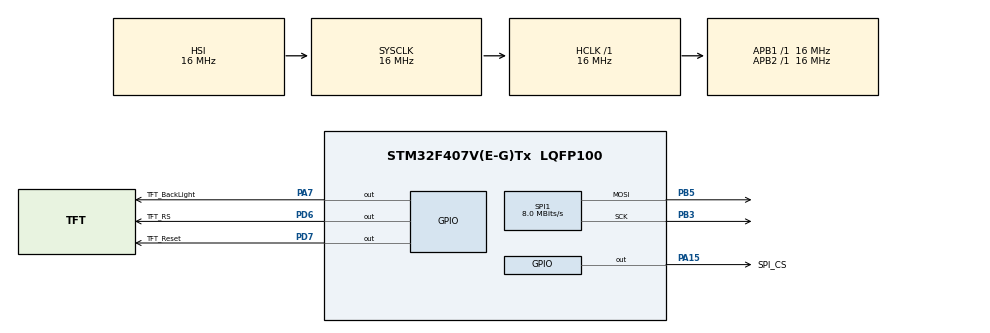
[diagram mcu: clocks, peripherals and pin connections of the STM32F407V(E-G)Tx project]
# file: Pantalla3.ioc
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Mcu.Family=STM32F4
Mcu.Name=STM32F407V(E-G)Tx
Mcu.Package=LQFP100
NVIC.PriorityGroup=NVIC_PRIORITYGROUP_4
PA15.GPIO_Label=SPI_CS
PA15.Signal=GPIO_Output
PA7.GPIO_Label=TFT_BackLight
PA7.Signal=GPIO_Output
PB3.Mode=TX_Only_Simplex_Unidirect_Master
PB3.Signal=SPI1_SCK
PB5.Mode=TX_Only_Simplex_Unidirect_Master
PB5.Signal=SPI1_MOSI
PD6.GPIO_Label=TFT_RS
PD6.Signal=GPIO_Output
PD7.GPIO_Label=TFT_Reset
PD7.Signal=GPIO_Output
ProjectManager.HeapSize=0x200
ProjectManager.StackSize=0x400
ProjectManager.TargetToolchain=TrueSTUDIO
RCC.AHBFreq_Value=16000000
RCC.APB1Freq_Value=16000000
RCC.APB2Freq_Value=16000000
RCC.CortexFreq_Value=16000000
RCC.HSE_VALUE=25000000
RCC.HSI_VALUE=16000000
RCC.LSE_VALUE=32768
RCC.SYSCLKFreq_VALUE=16000000
RCC.VCOOutputFreq_Value=192000000
SPI1.CalculateBaudRate=8.0 MBits/s
SPI1.Direction=SPI_DIRECTION_2LINES
SPI1.Mode=SPI_MODE_MASTER
SPI1.VirtualType=VM_MASTER
board=Pantalla3

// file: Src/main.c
/**
  ******************************************************************************
  * File Name          : main.c
  * Description        : Main program body
  ******************************************************************************
  ** This notice applies to any and all portions of this file
  * that are not between comment pairs USER CODE BEGIN and
  * USER CODE END. Other portions of this file, whether
  * inserted by the user or by software development tools
  * are owned by their respective copyright owners.
  *
  * COPYRIGHT(c) 2017 STMicroelectronics
  *
  * Redistribution and use in source and binary forms, with or without modification,
  * are permitted provided that the following conditions are met:
  *   1. Redistributions of source code must retain the above copyright notice,
  *      this list of conditions and the following disclaimer.
  *   2. Redistributions in binary form must reproduce the above copyright notice,
  *      this list of conditions and the following disclaimer in the documentation
  *      and/or other materials provided with the distribution.
  *   3. Neither the name of STMicroelectronics nor the names of its contributors
  *      may be used to endorse or promote products derived from this software
  *      without specific prior written permission.
  *
  * THIS SOFTWARE IS PROVIDED BY THE COPYRIGHT HOLDERS AND CONTRIBUTORS "AS IS"
  * AND ANY EXPRESS OR IMPLIED WARRANTIES, INCLUDING, BUT NOT LIMITED TO, THE
  * IMPLIED WARRANTIES OF MERCHANTABILITY AND FITNESS FOR A PARTICULAR PURPOSE ARE
  * DISCLAIMED. IN NO EVENT SHALL THE COPYRIGHT HOLDER OR CONTRIBUTORS BE LIABLE
  * FOR ANY DIRECT, INDIRECT, INCIDENTAL, SPECIAL, EXEMPLARY, OR CONSEQUENTIAL
  * DAMAGES (INCLUDING, BUT NOT LIMITED TO, PROCUREMENT OF SUBSTITUTE GOODS OR
  * SERVICES; LOSS OF USE, DATA, OR PROFITS; OR BUSINESS INTERRUPTION) HOWEVER
  * CAUSED AND ON ANY THEORY OF LIABILITY, WHETHER IN CONTRACT, STRICT LIABILITY,
  * OR TORT (INCLUDING NEGLIGENCE OR OTHERWISE) ARISING IN ANY WAY OUT OF THE USE
  * OF THIS SOFTWARE, EVEN IF ADVISED OF THE POSSIBILITY OF SUCH DAMAGE.
  *
  ******************************************************************************
  */
#include "main.h"
#include "stm32f4xx_hal.h"
#include "spi.h"
#include "gpio.h"

/* USER CODE BEGIN Includes */
#include "Intesc_Stdr_Types.h"			///ESTAS LIBRERIAS SE OBTUVIEORN DEL ARCHIVO MapPin_OPHYRA.H
#include "ST7735_Driver.h"				///LAS CUALES SE COPIARON DEL ARCHIVO MENCIONADO LCALIZADAO EN INC QUE FUE AGREADO
#include "MapPIN_Ophyra.h"
#include "stdio.h"

/* USER CODE END Includes */

/* USER CODE BEGIN PV */
/* Private variables ---------------------------------------------------------*/

/* USER CODE END PV */

void SystemClock_Config(void);

/* USER CODE BEGIN PFP */
/* Private function prototypes -----------------------------------------------*/

/* USER CODE END PFP */

int main(void)
{

  /* MCU Configuration----------------------------------------------------------*/

  /* Reset of all peripherals, Initializes the Flash interface and the Systick. */
  HAL_Init();

  /* Configure the system clock */
  SystemClock_Config();

  /* Initialize all configured peripherals */
  MX_GPIO_Init();
  MX_SPI1_Init();

  /* USER CODE BEGIN 2 */
  U32 Colorletra=0x6C1332;
    U32 Colorfondo=0xFFFFFF;
    char bufer[10];

    ///CONFIGURAR LA TFT

    TFT_Init(0);//funcion inicai la pantalla si es 0 es horinzontal y 1 para vertical
    TFT_BackLight(1);  //SI ES 1 LA PANTALLA ENCENDIDA Y 0 LA PANTALLA APAGADA
    TFT_ClearDisplay(Colorfondo);   ///FUNCION PARA LIMPIAR PANTALLA

    ///EJEMPLO PARA ESCRIBIR CARACTERES

    TFT_GotoXY(1,50);
    TFT_PrintStr("HOLA, PRIMER PROGRAMA EN LA TFT",Colorletra,Colorfondo);

    TFT_GotoXY(100,120);
    //PARA IMRPIMIR LA VARIBALE
    	  for(int i=0;i<=150;i++){

    		  sprintf(bufer,"%d",i);
    		  TFT_PrintStr(bufer,Colorletra,Colorfondo);
    		  HAL_Delay(200);
    	  	  }
  /* USER CODE END 2 */

  /* Infinite loop */
  while (1)
  {

  }

}

/** System Clock Configuration
*/
void SystemClock_Config(void)
{

  RCC_OscInitTypeDef RCC_OscInitStruct;
  RCC_ClkInitTypeDef RCC_ClkInitStruct;

    /**Configure the main internal regulator output voltage
    */
  __HAL_RCC_PWR_CLK_ENABLE();

  __HAL_PWR_VOLTAGESCALING_CONFIG(PWR_REGULATOR_VOLTAGE_SCALE1);

    /**Initializes the CPU, AHB and APB busses clocks
    */
  RCC_OscInitStruct.OscillatorType = RCC_OSCILLATORTYPE_HSI;
  RCC_OscInitStruct.HSIState = RCC_HSI_ON;
  RCC_OscInitStruct.HSICalibrationValue = 16;
  RCC_OscInitStruct.PLL.PLLState = RCC_PLL_NONE;
  if (HAL_RCC_OscConfig(&RCC_OscInitStruct) != HAL_OK)
  {
    _Error_Handler(__FILE__, __LINE__);
  }

    /**Initializes the CPU, AHB and APB busses clocks
    */
  RCC_ClkInitStruct.ClockType = RCC_CLOCKTYPE_HCLK|RCC_CLOCKTYPE_SYSCLK
                              |RCC_CLOCKTYPE_PCLK1|RCC_CLOCKTYPE_PCLK2;
  RCC_ClkInitStruct.SYSCLKSource = RCC_SYSCLKSOURCE_HSI;
  RCC_ClkInitStruct.AHBCLKDivider = RCC_SYSCLK_DIV1;
  RCC_ClkInitStruct.APB1CLKDivider = RCC_HCLK_DIV1;
  RCC_ClkInitStruct.APB2CLKDivider = RCC_HCLK_DIV1;

  if (HAL_RCC_ClockConfig(&RCC_ClkInitStruct, FLASH_LATENCY_0) != HAL_OK)
  {
    _Error_Handler(__FILE__, __LINE__);
  }

    /**Configure the Systick interrupt time
    */
  HAL_SYSTICK_Config(HAL_RCC_GetHCLKFreq()/1000);

    /**Configure the Systick
    */
  HAL_SYSTICK_CLKSourceConfig(SYSTICK_CLKSOURCE_HCLK);

  /* SysTick_IRQn interrupt configuration */
  HAL_NVIC_SetPriority(SysTick_IRQn, 0, 0);
}

void _Error_Handler(char * file, int line)
{
  while(1)
  {
  }
}

/************************ (C) COPYRIGHT STMicroelectronics *****END OF FILE****/
